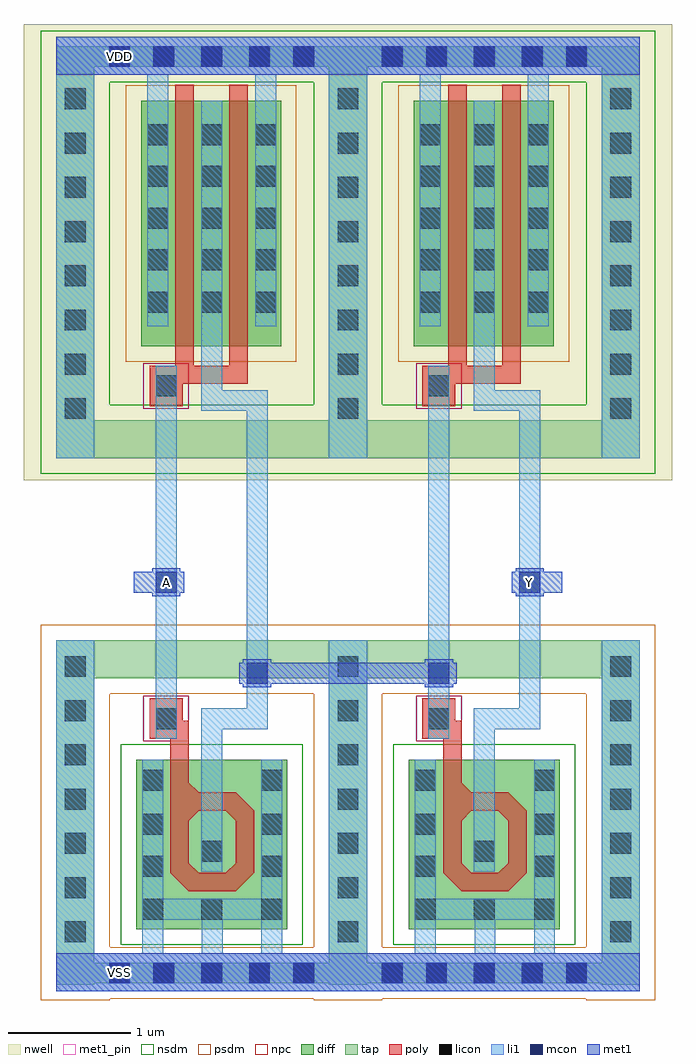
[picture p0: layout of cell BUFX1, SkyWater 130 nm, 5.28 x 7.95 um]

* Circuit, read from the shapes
.subckt BUFX1 A VDD VSS Y
XM1 VSS A n1 VSS sky130_fd_pr__nfet_01v8 w=2.56 l=0.1489
XM2 VSS n1 Y VSS sky130_fd_pr__nfet_01v8 w=2.56 l=0.1489
XM3 n1 A VDD VDD sky130_fd_pr__pfet_01v8 w=2 l=0.15 m=2
XM4 Y n1 VDD VDD sky130_fd_pr__pfet_01v8 w=2 l=0.15 m=2
.ends

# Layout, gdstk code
import gdstk
lib = gdstk.Library(unit=1e-6, precision=1e-09)
def R(c, l, rs):  # rectangles x0, y0, x1, y1
    for r in rs: c.add(gdstk.rectangle(r[:2], r[2:], *l))
def A(c, l, x, y, w, h, nx, ny, dx, dy):  # array of equal rectangles
    R(c, l, [(x+i*dx, y+j*dy, x+i*dx+w, y+j*dy+h) for i in range(nx) for j in range(ny)])
def P(c, l, *ps):  # polygons
    for p in ps: c.add(gdstk.Polygon(p, *l))
nwell = (64, 20)
diff = (65, 20)
tap = (65, 44)
poly = (66, 20)
licon = (66, 44)
li1 = (67, 20)
mcon = (67, 44)
met1_pin = (68, 16)
met1 = (68, 20)
nsdm = (93, 44)
psdm = (94, 20)
npc = (95, 20)

bufx1 = lib.new_cell('BUFX1')
R(bufx1, nwell, [(-0.42,4.16,4.86,7.875)])
R(bufx1, diff, [(0.495,0.505,1.725,1.885), (2.715,0.505,3.945,1.885), (0.535,5.25,1.675,7.25), (2.755,5.25,3.895,7.25)])
A(bufx1, tap, -0.155, 0.055, 0.31, 0.01, 3, 1, 2.22, 0)
A(bufx1, tap, -0.155, 0.235, 0.31, 2.315, 3, 1, 2.22, 0)
A(bufx1, tap, -0.155, 4.65, 0.31, 2.875, 3, 1, 2.22, 0)
R(bufx1, tap, [(-0.155,0.065,4.595,0.235), (-0.155,2.55,4.595,2.86), (-0.155,4.34,4.595,4.65), (-0.155,7.525,4.595,7.695)])
R(bufx1, poly, [(0.925,0.815,1.305,0.965), (3.145,0.815,3.525,0.965), (0.775,0.965,0.925,1.47), (1.305,0.965,1.455,1.47), (2.995,0.965,3.145,1.47), (3.525,0.965,3.675,1.47), (0.775,1.47,1.305,1.62), (2.995,1.47,3.525,1.62), (0.775,1.62,0.925,2.055), (2.995,1.62,3.145,2.055), (0.605,2.055,0.925,2.205), (2.825,2.055,3.145,2.205), (0.605,2.205,0.875,2.385), (2.825,2.205,3.095,2.385), (0.605,4.765,0.875,4.945), (2.825,4.765,3.095,4.945), (0.605,4.945,1.405,5.095), (2.825,4.945,3.625,5.095), (0.815,5.095,0.965,7.38), (1.255,5.095,1.405,7.38), (3.035,5.095,3.185,7.38), (3.475,5.095,3.625,7.38)])
P(bufx1, poly, [(0.925,1.7),(0.925,1.62),(1.005,1.62)],
  [(3.145,1.7),(3.145,1.62),(3.225,1.62)],
  [(1.305,1.62),(1.305,1.47),(1.455,1.47)],
  [(0.925,1.39),(0.925,1.47),(1.005,1.47)],
  [(1.225,1.47),(1.305,1.47),(1.305,1.39)],
  [(0.925,1.045),(0.925,0.965),(1.005,0.965)],
  [(1.225,0.965),(1.305,0.965),(1.305,1.045)],
  [(0.775,0.965),(0.925,0.965),(0.925,0.815)],
  [(1.305,0.815),(1.305,0.965),(1.455,0.965)],
  [(3.525,1.62),(3.525,1.47),(3.675,1.47)],
  [(3.145,1.39),(3.145,1.47),(3.225,1.47)],
  [(3.445,1.47),(3.525,1.47),(3.525,1.39)],
  [(3.145,1.045),(3.145,0.965),(3.225,0.965)],
  [(3.445,0.965),(3.525,0.965),(3.525,1.045)],
  [(2.995,0.965),(3.145,0.965),(3.145,0.815)],
  [(3.525,0.815),(3.525,0.965),(3.675,0.965)])
A(bufx1, licon, 0.635, 0.065, 0.17, 0.17, 3, 2, 0.39, 7.46)
A(bufx1, licon, 2.855, 0.065, 0.17, 0.17, 3, 2, 0.39, 7.46)
A(bufx1, licon, -0.085, 0.4, 0.17, 0.17, 3, 7, 2.22, 0.36)
A(bufx1, licon, -0.085, 4.66, 0.17, 0.17, 3, 8, 2.22, 0.36)
A(bufx1, licon, 0.585, 5.525, 0.17, 0.17, 3, 2, 0.44, 0.345)
A(bufx1, licon, 2.805, 5.525, 0.17, 0.17, 3, 2, 0.44, 0.345)
A(bufx1, licon, 0.585, 6.21, 0.17, 0.17, 3, 3, 0.44, 0.34)
A(bufx1, licon, 2.805, 6.21, 0.17, 0.17, 3, 3, 0.44, 0.34)
R(bufx1, licon, [(0.275,0.065,0.445,0.235), (1.775,0.065,1.945,0.235), (2.495,0.065,2.665,0.235), (3.995,0.065,4.165,0.235), (0.545,0.585,0.715,0.755), (1.025,0.585,1.195,0.755), (1.515,0.585,1.685,0.755), (2.765,0.585,2.935,0.755), (3.245,0.585,3.415,0.755), (3.735,0.585,3.905,0.755), (0.545,0.935,0.715,1.105), (1.515,0.935,1.685,1.105), (2.765,0.935,2.935,1.105), (3.735,0.935,3.905,1.105), (1.025,1.055,1.195,1.225), (3.245,1.055,3.415,1.225), (0.545,1.275,0.715,1.445), (1.515,1.275,1.685,1.445), (2.765,1.275,2.935,1.445), (3.735,1.275,3.905,1.445), (0.545,1.635,0.715,1.805), (1.515,1.635,1.685,1.805), (2.765,1.635,2.935,1.805), (3.735,1.635,3.905,1.805), (0.655,2.135,0.825,2.305), (2.875,2.135,3.045,2.305), (0.655,4.845,0.825,5.015), (2.875,4.845,3.045,5.015), (0.275,7.525,0.445,7.695), (1.775,7.525,1.945,7.695), (2.495,7.525,2.665,7.695), (3.995,7.525,4.165,7.695)])
A(bufx1, li1, -0.155, 0.31, 0.31, 2.55, 3, 1, 2.22, 0)
A(bufx1, li1, 0.545, 0.31, 0.17, 0.275, 3, 1, 0.485, 0)
A(bufx1, li1, 2.765, 0.31, 0.17, 0.275, 3, 1, 0.485, 0)
A(bufx1, li1, -0.155, 4.34, 0.31, 3.12, 3, 1, 2.22, 0)
R(bufx1, li1, [(-0.155,0,4.595,0.31), (0.545,0.585,1.685,0.755), (2.765,0.585,3.905,0.755), (0.545,0.755,0.715,1.885), (1.515,0.755,1.685,1.885), (2.765,0.755,2.935,1.885), (3.735,0.755,3.905,1.885), (1.025,0.975,1.195,2.135), (3.245,0.975,3.415,2.135), (0.655,2.055,0.825,5.095), (2.875,2.055,3.045,5.095), (1.025,2.135,1.565,2.305), (3.245,2.135,3.785,2.305), (1.395,2.305,1.565,4.725), (3.615,2.305,3.785,4.725), (1.025,4.725,1.565,4.895), (3.245,4.725,3.785,4.895), (1.025,4.895,1.195,7.25), (3.245,4.895,3.415,7.25), (0.585,5.415,0.755,7.46), (1.465,5.415,1.635,7.46), (2.805,5.415,2.975,7.46), (3.685,5.415,3.855,7.46), (-0.155,7.46,4.595,7.77)])
A(bufx1, mcon, 0.635, 0.065, 0.17, 0.17, 3, 2, 0.39, 7.46)
A(bufx1, mcon, 2.855, 0.065, 0.17, 0.17, 3, 2, 0.39, 7.46)
R(bufx1, mcon, [(0.275,0.065,0.445,0.235), (1.775,0.065,1.945,0.235), (2.495,0.065,2.665,0.235), (3.995,0.065,4.165,0.235), (1.395,2.505,1.565,2.675), (2.875,2.505,3.045,2.675), (0.655,3.245,0.825,3.415), (3.615,3.245,3.785,3.415), (0.275,7.525,0.445,7.695), (1.775,7.525,1.945,7.695), (2.495,7.525,2.665,7.695), (3.995,7.525,4.165,7.695)])
R(bufx1, met1_pin, [(0.275,0.065,0.445,0.235), (0.655,3.245,0.825,3.415), (3.615,3.245,3.785,3.415), (0.275,7.525,0.445,7.695)])
R(bufx1, met1, [(-0.155,0,4.595,0.31), (1.365,2.475,1.595,2.505), (2.845,2.475,3.075,2.505), (1.335,2.505,3.105,2.675), (1.365,2.675,1.595,2.705), (2.845,2.675,3.075,2.705), (0.625,3.215,0.855,3.245), (3.585,3.215,3.815,3.245), (0.475,3.245,0.885,3.415), (3.555,3.245,3.965,3.415), (0.625,3.415,0.855,3.445), (3.585,3.415,3.815,3.445), (-0.155,7.46,4.595,7.77)])
A(bufx1, nsdm, -0.28, 4.775, 0.56, 2.625, 3, 1, 2.22, 0)
R(bufx1, nsdm, [(0.37,0.38,1.85,2.01), (2.59,0.38,4.07,2.01), (-0.28,4.215,4.72,4.775), (-0.28,7.4,4.72,7.82)])
A(bufx1, psdm, -0.28, -0.07, 0.56, 0.01, 3, 1, 2.22, 0)
A(bufx1, psdm, -0.28, 0.36, 0.56, 2.065, 3, 1, 2.22, 0)
R(bufx1, psdm, [(-0.28,-0.06,4.72,0.36), (-0.28,2.425,4.72,2.985), (0.41,5.125,1.8,7.375), (2.63,5.125,4.02,7.375)])
R(bufx1, npc, [(0.555,2.035,0.925,2.405), (2.775,2.035,3.145,2.405), (0.555,4.745,0.925,5.115), (2.775,4.745,3.145,5.115)])
bufx1.add(gdstk.Label('Y', (3.7,3.33), layer=68, texttype=16))
bufx1.add(gdstk.Label('A', (0.74,3.33), layer=68, texttype=16))
bufx1.add(gdstk.Label('VDD', (0.36,7.61), layer=68, texttype=16))
bufx1.add(gdstk.Label('VSS', (0.36,0.15), layer=68, texttype=16))

lib.write_gds('BUFX1.gds')
